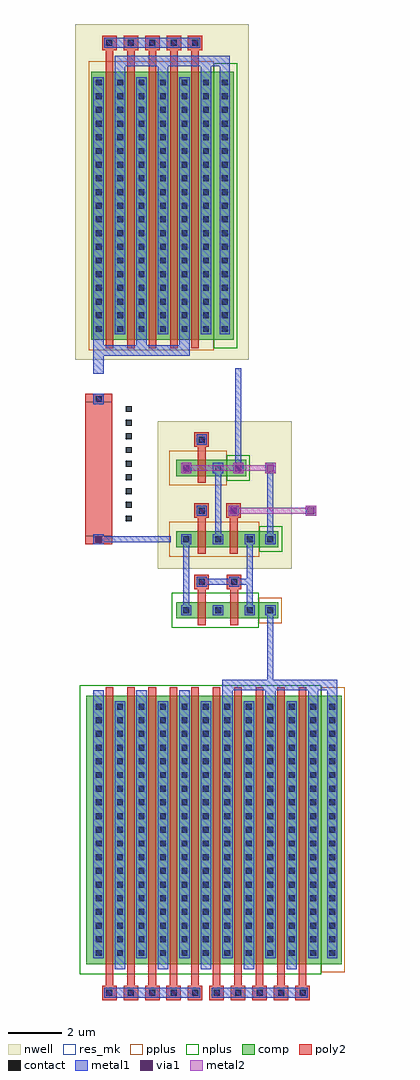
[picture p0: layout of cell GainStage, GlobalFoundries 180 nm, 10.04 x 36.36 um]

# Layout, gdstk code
import gdstk
lib = gdstk.Library(unit=1e-6, precision=1e-09)
def R(c, l, rs):  # rectangles x0, y0, x1, y1
    for r in rs: c.add(gdstk.rectangle(r[:2], r[2:], *l))
def A(c, l, x, y, w, h, nx, ny, dx, dy):  # array of equal rectangles
    R(c, l, [(x+i*dx, y+j*dy, x+i*dx+w, y+j*dy+h) for i in range(nx) for j in range(ny)])
nwell = (21, 0)
comp = (22, 0)
poly2 = (30, 0)
pplus = (31, 0)
nplus = (32, 0)
contact = (33, 0)
metal1 = (34, 0)
via1 = (35, 0)
metal2 = (36, 0)
res_mk = (110, 5)

gainstage = lib.new_cell('GainStage')
R(gainstage, nwell, [(6.97,-1.38,11.97,4.12), (3.9,6.41,10.371,18.91)])
R(gainstage, comp, [(4.319,-16.106,13.82,-6.105), (7.67,-3.23,11.47,-2.63), (7.67,-0.58,11.47,0.02), (7.67,2.07,10.27,2.67), (4.5,7.14,9.801,17.14)])
A(gainstage, poly2, 4.899, -17.446, 0.54, 0.54, 5, 1, 0.8, 0)
A(gainstage, poly2, 8.9, -17.446, 0.54, 0.54, 5, 1, 0.8, 0)
A(gainstage, poly2, 5.029, -16.906, 0.28, 11.101, 5, 1, 0.8, 0)
A(gainstage, poly2, 9.03, -16.906, 0.28, 11.101, 5, 1, 0.8, 0)
A(gainstage, poly2, 8.47, -3.48, 0.3, 1.34, 1, 3, 0, 2.65)
A(gainstage, poly2, 8.34, -2.14, 0.54, 0.54, 1, 3, 0, 2.65)
A(gainstage, poly2, 5.03, 6.84, 0.28, 11.1, 5, 1, 0.8, 0)
A(gainstage, poly2, 4.9, 17.94, 0.54, 0.54, 5, 1, 0.8, 0)
R(gainstage, poly2, [(9.68,-3.48,9.98,-2.14), (9.55,-2.14,10.09,-1.6), (9.66,-0.83,9.96,0.51), (4.27,-0.47,5.27,5.13), (9.53,0.51,10.07,1.05)])
R(gainstage, pplus, [(13.06,-16.406,13.94,-5.795), (10.745,-3.405,11.6,-2.455), (7.4,-0.93,10.75,0.37), (7.395,1.72,9.545,3.02), (4.41,6.765,9.061,17.515)])
R(gainstage, nplus, [(4.059,-16.481,13.06,-5.73), (7.495,-3.58,10.745,-2.28), (10.75,-0.75,11.605,0.2), (9.545,1.9,10.4,2.85), (9.061,6.83,9.941,17.44)])
A(gainstage, contact, 5.059, -17.286, 0.22, 0.22, 5, 1, 0.8, 0)
A(gainstage, contact, 9.06, -17.286, 0.22, 0.22, 5, 1, 0.8, 0)
A(gainstage, contact, 4.659, -15.806, 0.22, 0.22, 5, 5, 0.8, 0.51)
A(gainstage, contact, 8.659, -15.806, 0.221, 0.22, 1, 5, 0, 0.51)
A(gainstage, contact, 9.46, -15.806, 0.22, 0.22, 5, 5, 0.8, 0.51)
A(gainstage, contact, 13.36, -15.806, 0.22, 0.22, 1, 5, 0, 0.51)
A(gainstage, contact, 4.659, -13.256, 0.22, 0.221, 5, 1, 0.8, 0)
A(gainstage, contact, 9.46, -13.256, 0.22, 0.221, 5, 1, 0.8, 0)
A(gainstage, contact, 4.659, -12.745, 0.22, 0.22, 5, 13, 0.8, 0.51)
A(gainstage, contact, 8.659, -12.745, 0.221, 0.22, 1, 13, 0, 0.51)
A(gainstage, contact, 9.46, -12.745, 0.22, 0.22, 5, 13, 0.8, 0.51)
A(gainstage, contact, 13.36, -12.745, 0.22, 0.22, 1, 13, 0, 0.51)
A(gainstage, contact, 7.92, -3.04, 0.22, 0.22, 1, 3, 0, 2.65)
A(gainstage, contact, 9.11, -3.04, 0.22, 0.22, 1, 3, 0, 2.65)
A(gainstage, contact, 8.5, -1.98, 0.22, 0.22, 1, 3, 0, 2.65)
A(gainstage, contact, 5.79, 0.38, 0.22, 0.22, 1, 9, 0, 0.51)
A(gainstage, contact, 4.66, 7.44, 0.22, 0.22, 5, 19, 0.8, 0.51)
A(gainstage, contact, 8.66, 7.44, 0.221, 0.22, 1, 19, 0, 0.51)
A(gainstage, contact, 9.361, 7.44, 0.22, 0.22, 1, 19, 0, 0.51)
A(gainstage, contact, 5.06, 18.1, 0.22, 0.22, 5, 1, 0.8, 0)
R(gainstage, contact, [(8.659,-13.256,8.88,-13.035), (13.36,-13.256,13.58,-13.035), (10.29,-3.04,10.51,-2.82), (11.06,-3.04,11.28,-2.82), (9.71,-1.98,9.93,-1.76), (4.66,-0.39,4.88,-0.17), (10.29,-0.39,10.51,-0.17), (11.06,-0.39,11.28,-0.17), (9.69,0.67,9.91,0.89), (9.86,2.26,10.08,2.48), (4.66,4.83,4.88,5.05)])
A(gainstage, metal1, 4.979, -17.366, 0.38, 0.38, 5, 1, 0.8, 0)
A(gainstage, metal1, 8.98, -17.366, 0.38, 0.38, 5, 1, 0.8, 0)
A(gainstage, metal1, 4.579, -15.886, 0.38, 9.561, 5, 1, 0.8, 0)
A(gainstage, metal1, 9.38, -15.886, 0.38, 9.561, 5, 1, 0.8, 0)
A(gainstage, metal1, 4.579, -6.325, 0.38, 0.42, 3, 1, 1.6, 0)
A(gainstage, metal1, 9.38, -6.325, 0.38, 0.42, 3, 1, 1.6, 0)
A(gainstage, metal1, 7.84, -3.12, 0.38, 0.38, 1, 3, 0, 2.65)
A(gainstage, metal1, 9.03, -3.12, 0.38, 0.38, 1, 3, 0, 2.65)
A(gainstage, metal1, 10.98, -3.12, 0.38, 0.38, 1, 3, 0, 2.65)
A(gainstage, metal1, 8.42, -2.06, 0.38, 0.38, 1, 3, 0, 2.65)
A(gainstage, metal1, 4.58, 6.94, 0.38, 0.42, 3, 1, 1.6, 0)
A(gainstage, metal1, 4.58, 7.36, 0.38, 9.56, 5, 1, 0.8, 0)
A(gainstage, metal1, 4.98, 18.02, 0.38, 0.38, 5, 1, 0.8, 0)
R(gainstage, metal1, [(4.979,-17.366,8.559,-16.986), (8.98,-17.366,12.56,-16.986), (5.379,-16.306,5.759,-15.886), (6.979,-16.306,7.359,-15.886), (8.579,-16.306,8.96,-15.886), (10.18,-16.306,10.56,-15.886), (11.78,-16.306,12.16,-15.886), (8.579,-15.886,8.96,-6.325), (13.28,-15.886,13.66,-6.325), (13.28,-6.325,13.66,-5.905), (9.38,-5.905,13.66,-5.525), (11.06,-5.905,11.28,-2.74), (10.21,-3.12,10.59,-2.74), (7.92,-2.74,8.14,-0.47), (10.29,-2.74,10.51,-0.47), (9.63,-2.06,10.01,-1.68), (8.8,-1.98,9.63,-1.76), (10.01,-1.98,10.51,-1.76), (4.58,-0.47,4.96,-0.09), (10.21,-0.47,10.59,-0.09), (4.66,-0.39,7.455,-0.17), (9.11,-0.09,9.33,2.18), (11.06,-0.09,11.28,2.18), (9.61,0.59,9.99,0.97), (12.49,0.59,12.87,0.97), (9.78,2.18,10.16,2.56), (9.86,2.26,10.08,6.08), (4.58,4.75,4.96,5.13), (4.58,5.88,4.96,6.56), (4.58,6.56,8.16,6.94), (8.58,7.36,8.961,16.92), (9.281,7.36,9.661,16.92), (5.38,16.92,5.76,17.34), (6.98,16.92,7.36,17.34), (8.58,16.92,8.961,17.34), (9.281,16.92,9.661,17.34), (5.38,17.34,9.661,17.72), (4.98,18.02,8.56,18.4)])
R(gainstage, via1, [(4.64,-0.41,4.9,-0.15), (9.67,0.65,9.93,0.91), (12.55,0.65,12.81,0.91), (7.9,2.24,8.16,2.5), (9.84,2.24,10.1,2.5), (11.04,2.24,11.3,2.5)])
R(gainstage, metal2, [(9.61,0.59,9.99,0.97), (12.49,0.59,12.87,0.97), (9.69,0.67,12.79,0.89), (7.84,2.18,8.22,2.56), (9.78,2.18,10.16,2.56), (10.98,2.18,11.36,2.56), (7.92,2.26,11.28,2.48)])
R(gainstage, res_mk, [(4.27,-0.17,5.27,4.83)])
gainstage.add(gdstk.Label('Output', (-0.404,-1.912), layer=34, texttype=10))
gainstage.add(gdstk.Label('VDD', (-2.598,0.036), layer=34, texttype=10))
gainstage.add(gdstk.Label('Input', (0.092,2.28), layer=34, texttype=10))
gainstage.add(gdstk.Label('CBias', (-0.09,2.28), layer=34, texttype=10))
gainstage.add(gdstk.Label('GND', (0.295,0), layer=34, texttype=10))
gainstage.add(gdstk.Label('LBias', (-2.413,2.134), layer=34, texttype=10))

lib.write_gds('GainStage.gds')
